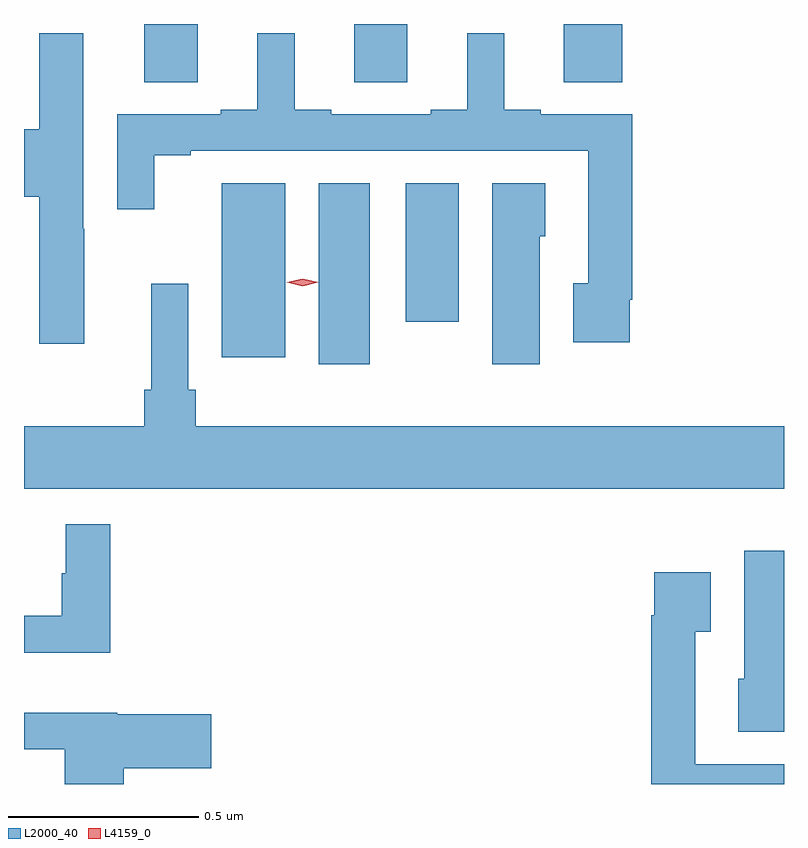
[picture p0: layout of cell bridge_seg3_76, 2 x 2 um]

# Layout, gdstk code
import gdstk
lib = gdstk.Library(unit=1e-6, precision=1e-09)
def R(c, l, rs):  # rectangles x0, y0, x1, y1
    for r in rs: c.add(gdstk.rectangle(r[:2], r[2:], *l))
def P(c, l, *ps):  # polygons
    for p in ps: c.add(gdstk.Polygon(p, *l))
L2000_40 = (2000, 40)
L4159_0 = (4159, 0)

bridge_seg3_76 = lib.new_cell('bridge_seg3_76')
R(bridge_seg3_76, L2000_40, [(412.88,690.588,413.014,691.064), (412.625,690.606,412.792,691.064), (413.108,690.699,413.248,691.064), (412.421,691.33,412.561,691.483), (412.973,691.33,413.113,691.483), (413.525,691.33,413.678,691.483)])
P(bridge_seg3_76, L2000_40, [(413.698,690.757),(413.705,690.757),(413.705,691.245),(413.464,691.245),(413.464,691.258),(413.368,691.258),(413.368,691.459),(413.27,691.459),(413.27,691.258),(413.174,691.258),(413.174,691.245),(412.912,691.245),(412.912,691.258),(412.816,691.258),(412.816,691.459),(412.718,691.459),(412.718,691.258),(412.622,691.258),(412.622,691.245),(412.35,691.245),(412.35,690.996),(412.447,690.996),(412.447,691.137),(412.543,691.137),(412.543,691.149),(413.589,691.149),(413.589,690.801),(413.549,690.801),(413.549,690.645),(413.698,690.645)],
  [(412.262,690.944),(412.26,690.944),(412.26,691.459),(412.144,691.459),(412.144,691.206),(412.104,691.206),(412.104,691.028),(412.144,691.028),(412.144,690.642),(412.262,690.642)],
  [(413.461,690.924),(413.476,690.924),(413.476,691.064),(413.336,691.064),(413.336,690.588),(413.461,690.588)],
  [(414.104,690.424),(412.556,690.424),(412.556,690.52),(412.536,690.52),(412.536,690.799),(412.439,690.799),(412.439,690.52),(412.42,690.52),(412.42,690.424),(412.104,690.424),(412.104,690.26),(414.104,690.26)],
  [(412.331,690.166),(412.214,690.166),(412.214,690.038),(412.203,690.038),(412.203,689.926),(412.104,689.926),(412.104,689.828),(412.331,689.828)],
  [(414.104,690.097),(413.999,690.097),(413.999,689.76),(413.984,689.76),(413.984,689.62),(414.104,689.62)],
  [(414.104,689.535),(413.871,689.535),(413.871,689.884),(413.911,689.884),(413.911,690.04),(413.763,690.04),(413.763,689.927),(413.755,689.927),(413.755,689.483),(414.104,689.483)],
  [(412.367,689.524),(412.597,689.524),(412.597,689.666),(412.35,689.666),(412.35,689.671),(412.104,689.671),(412.104,689.574),(412.211,689.574),(412.211,689.483),(412.367,689.483)])
P(bridge_seg3_76, L4159_0, [(412.837,690.793),(412.796,690.803),(412.796,690.803),(412.796,690.804),(412.837,690.813),(412.878,690.803),(412.878,690.803),(412.878,690.803)])

lib.write_gds('bridge_seg3_76.gds')
